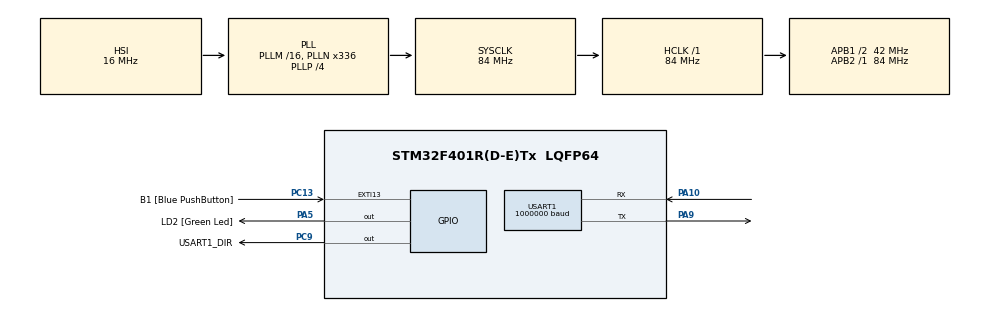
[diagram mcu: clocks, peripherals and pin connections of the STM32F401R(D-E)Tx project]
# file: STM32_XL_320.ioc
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Mcu.Family=STM32F4
Mcu.Name=STM32F401R(D-E)Tx
Mcu.Package=LQFP64
NVIC.PriorityGroup=NVIC_PRIORITYGROUP_0
NVIC.USART1_IRQn=true\:0\:0\:false\:false\:true\:true
PA10.Mode=Asynchronous
PA10.Signal=USART1_RX
PA13.GPIO_Label=TMS
PA13.Signal=SYS_JTMS-SWDIO
PA14.GPIO_Label=TCK
PA14.Signal=SYS_JTCK-SWCLK
PA2.GPIO_Label=USART_TX
PA2.GPIO_Mode=GPIO_MODE_AF_PP
PA2.GPIO_PuPd=GPIO_NOPULL
PA2.GPIO_Speed=GPIO_SPEED_FREQ_LOW
PA2.Signal=USART2_TX
PA3.GPIO_Label=USART_RX
PA3.GPIO_Mode=GPIO_MODE_AF_PP
PA3.GPIO_PuPd=GPIO_NOPULL
PA3.GPIO_Speed=GPIO_SPEED_FREQ_LOW
PA3.Signal=USART2_RX
PA5.GPIO_Label=LD2 [Green Led]
PA5.GPIO_Mode=GPIO_MODE_OUTPUT_PP
PA5.GPIO_PuPd=GPIO_NOPULL
PA5.GPIO_Speed=GPIO_SPEED_FREQ_LOW
PA5.Signal=GPIO_Output
PA9.Mode=Asynchronous
PA9.Signal=USART1_TX
PB3.GPIO_Label=SWO
PB3.Signal=SYS_JTDO-SWO
PC13-ANTI_TAMP.GPIO_Label=B1 [Blue PushButton]
PC13-ANTI_TAMP.GPIO_ModeDefaultEXTI=GPIO_MODE_IT_FALLING
PC13-ANTI_TAMP.GPIO_PuPd=GPIO_NOPULL
PC13-ANTI_TAMP.Signal=GPXTI13
PC14-OSC32_IN.Signal=RCC_OSC32_IN
PC15-OSC32_OUT.Signal=RCC_OSC32_OUT
PC9.GPIO_Label=USART1_DIR
PC9.PinState=GPIO_PIN_RESET
PC9.Signal=GPIO_Output
PH0\ -\ OSC_IN.Signal=RCC_OSC_IN
PH1\ -\ OSC_OUT.Signal=RCC_OSC_OUT
ProjectManager.HeapSize=0x200
ProjectManager.StackSize=0x400
ProjectManager.TargetToolchain=Makefile
RCC.AHBFreq_Value=84000000
RCC.APB1CLKDivider=RCC_HCLK_DIV2
RCC.APB1Freq_Value=42000000
RCC.APB1TimFreq_Value=84000000
RCC.APB2Freq_Value=84000000
RCC.APB2TimFreq_Value=84000000
RCC.CortexFreq_Value=84000000
RCC.HCLKFreq_Value=84000000
RCC.HSE_VALUE=8000000
RCC.HSI_VALUE=16000000
RCC.LSE_VALUE=32768
RCC.PLLN=336
RCC.PLLP=RCC_PLLP_DIV4
RCC.PLLQ=7
RCC.SYSCLKFreq_VALUE=84000000
RCC.SYSCLKSource=RCC_SYSCLKSOURCE_PLLCLK
RCC.VCOOutputFreq_Value=336000000
USART1.BaudRate=1000000
USART1.VirtualMode=VM_ASYNC
board=NUCLEO-F401RE

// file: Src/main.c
/**
  ******************************************************************************
  * File Name          : main.c
  * Description        : Main program body
  ******************************************************************************
  ** This notice applies to any and all portions of this file
  * that are not between comment pairs USER CODE BEGIN and
  * USER CODE END. Other portions of this file, whether
  * inserted by the user or by software development tools
  * are owned by their respective copyright owners.
  *
  * COPYRIGHT(c) 2017 STMicroelectronics
  *
  * Redistribution and use in source and binary forms, with or without modification,
  * are permitted provided that the following conditions are met:
  *   1. Redistributions of source code must retain the above copyright notice,
  *      this list of conditions and the following disclaimer.
  *   2. Redistributions in binary form must reproduce the above copyright notice,
  *      this list of conditions and the following disclaimer in the documentation
  *      and/or other materials provided with the distribution.
  *   3. Neither the name of STMicroelectronics nor the names of its contributors
  *      may be used to endorse or promote products derived from this software
  *      without specific prior written permission.
  *
  * THIS SOFTWARE IS PROVIDED BY THE COPYRIGHT HOLDERS AND CONTRIBUTORS "AS IS"
  * AND ANY EXPRESS OR IMPLIED WARRANTIES, INCLUDING, BUT NOT LIMITED TO, THE
  * IMPLIED WARRANTIES OF MERCHANTABILITY AND FITNESS FOR A PARTICULAR PURPOSE ARE
  * DISCLAIMED. IN NO EVENT SHALL THE COPYRIGHT HOLDER OR CONTRIBUTORS BE LIABLE
  * FOR ANY DIRECT, INDIRECT, INCIDENTAL, SPECIAL, EXEMPLARY, OR CONSEQUENTIAL
  * DAMAGES (INCLUDING, BUT NOT LIMITED TO, PROCUREMENT OF SUBSTITUTE GOODS OR
  * SERVICES; LOSS OF USE, DATA, OR PROFITS; OR BUSINESS INTERRUPTION) HOWEVER
  * CAUSED AND ON ANY THEORY OF LIABILITY, WHETHER IN CONTRACT, STRICT LIABILITY,
  * OR TORT (INCLUDING NEGLIGENCE OR OTHERWISE) ARISING IN ANY WAY OUT OF THE USE
  * OF THIS SOFTWARE, EVEN IF ADVISED OF THE POSSIBILITY OF SUCH DAMAGE.
  *
  ******************************************************************************
  */

#include "main.h"
#include "stm32f4xx_hal.h"

/* USER CODE BEGIN Includes */
#include "xl_320.h"
/* USER CODE END Includes */

UART_HandleTypeDef huart1;

/* USER CODE BEGIN PV */
/* Private variables ---------------------------------------------------------*/

/* USER CODE END PV */

void SystemClock_Config(void);
static void MX_GPIO_Init(void);
static void MX_USART1_UART_Init(void);

/* USER CODE BEGIN PFP */
/* Private function prototypes -----------------------------------------------*/

/* USER CODE END PFP */

/* USER CODE BEGIN 0 */
XL_Interface interface;

uint8_t XL_320_Send_HAL(uint8_t *data, uint16_t size, uint32_t timeout){
  HAL_StatusTypeDef status = HAL_UART_Transmit(&huart1, data, size, timeout);
  return (status==HAL_OK)?0:1;return 0;//Temporaire
}

void XL_320_Set_Direction_HAL(XL_Direction dir){
  HAL_GPIO_WritePin(USART1_DIR_GPIO_Port, USART1_DIR_Pin, (dir==XL_SEND)?GPIO_PIN_SET:GPIO_PIN_RESET);
}

uint8_t XL_320_Receive_HAL(uint8_t *buffer, uint16_t size, uint32_t timeout){
  HAL_StatusTypeDef status = HAL_UART_Receive(&huart1, buffer, size, timeout);
  return (status==HAL_OK)?0:1;
}

void XL_320_Delay_HAL(uint32_t t){
  HAL_Delay(t);
}

/* USER CODE END 0 */

int main(void)
{

  /* MCU Configuration----------------------------------------------------------*/

  /* Reset of all peripherals, Initializes the Flash interface and the Systick. */
  HAL_Init();

  /* Configure the system clock */
  SystemClock_Config();

  /* Initialize all configured peripherals */
  MX_GPIO_Init();
  MX_USART1_UART_Init();

  /* USER CODE BEGIN 2 */
  //Initialisation interface
  interface.send = XL_320_Send_HAL;
  interface.set_direction = XL_320_Set_Direction_HAL;
  interface.receive = XL_320_Receive_HAL;
  interface.delay = XL_320_Delay_HAL;

  HAL_Delay(1000);

  XL broadcast = (XL) {.interface = &interface, .id = XL_BROADCAST};

  XL servo[2];
  uint16_t nb_servos = 0;

  XL_Discover(&interface, servo, 2, &nb_servos);
  XL_Say_Hello(&servo[0]);
  //XL_Say_Hello(&servo[1]);

  XL_Power_Off(&servo[0], XL_NOW);
  //XL_Power_On(&servo[1], XL_NOW);

  uint16_t working;
  if(XL_Is_Working(&servo[0], &working) == 0){
    if(working){
      XL_Set_LED(&servo[0], XL_GREEN, XL_NOW);
    }
    else{
      XL_Set_LED(&servo[0], XL_BLUE, XL_NOW);
    }
  }
  else{
    XL_Set_LED(&servo[0], XL_RED, XL_NOW);
  }

  /*
  XL_Configure_Control_Mode(&servo[1], XL_JOIN_MODE);
  XL_Configure_CW_Angle_Limit(&servo[1], 0);
  XL_Configure_CCW_Angle_Limit(&servo[1],1023);
  */

  //while(1);

  /* USER CODE END 2 */

  /* Infinite loop */
  /* USER CODE BEGIN WHILE */
  while (1)
  {
    HAL_Delay(2000);
    XL_Set_Goal_Position(&servo[0], 400, XL_NOW);
//    HAL_Delay(2000);
//    XL_Set_Goal_Position(&servo[1], 600, XL_NOW);
    XL_Power_On(&servo[0], XL_NOW);
//    HAL_Delay(2000);
    XL_Set_Goal_Position(&servo[0], 600, XL_NOW);
    HAL_Delay(2000);
//    XL_Set_Goal_Position(&servo[1], 400, XL_NOW);
    XL_Power_On(&servo[0], XL_NOW);
  /* USER CODE END WHILE */

  }

}

/** System Clock Configuration
*/
void SystemClock_Config(void)
{

  RCC_OscInitTypeDef RCC_OscInitStruct;
  RCC_ClkInitTypeDef RCC_ClkInitStruct;

    /**Configure the main internal regulator output voltage
    */
  __HAL_RCC_PWR_CLK_ENABLE();

  __HAL_PWR_VOLTAGESCALING_CONFIG(PWR_REGULATOR_VOLTAGE_SCALE2);

    /**Initializes the CPU, AHB and APB busses clocks
    */
  RCC_OscInitStruct.OscillatorType = RCC_OSCILLATORTYPE_HSI;
  RCC_OscInitStruct.HSIState = RCC_HSI_ON;
  RCC_OscInitStruct.HSICalibrationValue = 16;
  RCC_OscInitStruct.PLL.PLLState = RCC_PLL_ON;
  RCC_OscInitStruct.PLL.PLLSource = RCC_PLLSOURCE_HSI;
  RCC_OscInitStruct.PLL.PLLM = 16;
  RCC_OscInitStruct.PLL.PLLN = 336;
  RCC_OscInitStruct.PLL.PLLP = RCC_PLLP_DIV4;
  RCC_OscInitStruct.PLL.PLLQ = 7;
  if (HAL_RCC_OscConfig(&RCC_OscInitStruct) != HAL_OK)
  {
    _Error_Handler(__FILE__, __LINE__);
  }

    /**Initializes the CPU, AHB and APB busses clocks
    */
  RCC_ClkInitStruct.ClockType = RCC_CLOCKTYPE_HCLK|RCC_CLOCKTYPE_SYSCLK
                              |RCC_CLOCKTYPE_PCLK1|RCC_CLOCKTYPE_PCLK2;
  RCC_ClkInitStruct.SYSCLKSource = RCC_SYSCLKSOURCE_PLLCLK;
  RCC_ClkInitStruct.AHBCLKDivider = RCC_SYSCLK_DIV1;
  RCC_ClkInitStruct.APB1CLKDivider = RCC_HCLK_DIV2;
  RCC_ClkInitStruct.APB2CLKDivider = RCC_HCLK_DIV1;

  if (HAL_RCC_ClockConfig(&RCC_ClkInitStruct, FLASH_LATENCY_2) != HAL_OK)
  {
    _Error_Handler(__FILE__, __LINE__);
  }

    /**Configure the Systick interrupt time
    */
  HAL_SYSTICK_Config(HAL_RCC_GetHCLKFreq()/1000);

    /**Configure the Systick
    */
  HAL_SYSTICK_CLKSourceConfig(SYSTICK_CLKSOURCE_HCLK);

  /* SysTick_IRQn interrupt configuration */
  HAL_NVIC_SetPriority(SysTick_IRQn, 0, 0);
}

/* USART1 init function */
static void MX_USART1_UART_Init(void)
{

  huart1.Instance = USART1;
  huart1.Init.BaudRate = 1000000;
  huart1.Init.WordLength = UART_WORDLENGTH_8B;
  huart1.Init.StopBits = UART_STOPBITS_1;
  huart1.Init.Parity = UART_PARITY_NONE;
  huart1.Init.Mode = UART_MODE_TX_RX;
  huart1.Init.HwFlowCtl = UART_HWCONTROL_NONE;
  huart1.Init.OverSampling = UART_OVERSAMPLING_16;
  if (HAL_UART_Init(&huart1) != HAL_OK)
  {
    _Error_Handler(__FILE__, __LINE__);
  }

}

/** Configure pins as
        * Analog
        * Input
        * Output
        * EVENT_OUT
        * EXTI
        * Free pins are configured automatically as Analog (this feature is enabled through
        * the Code Generation settings)
     PA2   ------> USART2_TX
     PA3   ------> USART2_RX
*/
static void MX_GPIO_Init(void)
{

  GPIO_InitTypeDef GPIO_InitStruct;

  /* GPIO Ports Clock Enable */
  __HAL_RCC_GPIOC_CLK_ENABLE();
  __HAL_RCC_GPIOH_CLK_ENABLE();
  __HAL_RCC_GPIOA_CLK_ENABLE();
  __HAL_RCC_GPIOB_CLK_ENABLE();
  __HAL_RCC_GPIOD_CLK_ENABLE();

  /*Configure GPIO pin Output Level */
  HAL_GPIO_WritePin(LD2_GPIO_Port, LD2_Pin, GPIO_PIN_RESET);

  /*Configure GPIO pin Output Level */
  HAL_GPIO_WritePin(USART1_DIR_GPIO_Port, USART1_DIR_Pin, GPIO_PIN_RESET);

  /*Configure GPIO pin : B1_Pin */
  GPIO_InitStruct.Pin = B1_Pin;
  GPIO_InitStruct.Mode = GPIO_MODE_IT_FALLING;
  GPIO_InitStruct.Pull = GPIO_NOPULL;
  HAL_GPIO_Init(B1_GPIO_Port, &GPIO_InitStruct);

  /*Configure GPIO pins : PC0 PC1 PC2 PC3
                           PC4 PC5 PC6 PC7
                           PC8 PC10 PC11 PC12 */
  GPIO_InitStruct.Pin = GPIO_PIN_0|GPIO_PIN_1|GPIO_PIN_2|GPIO_PIN_3
                          |GPIO_PIN_4|GPIO_PIN_5|GPIO_PIN_6|GPIO_PIN_7
                          |GPIO_PIN_8|GPIO_PIN_10|GPIO_PIN_11|GPIO_PIN_12;
  GPIO_InitStruct.Mode = GPIO_MODE_ANALOG;
  GPIO_InitStruct.Pull = GPIO_NOPULL;
  HAL_GPIO_Init(GPIOC, &GPIO_InitStruct);

  /*Configure GPIO pins : PA0 PA1 PA4 PA6
                           PA7 PA8 PA11 PA12
                           PA15 */
  GPIO_InitStruct.Pin = GPIO_PIN_0|GPIO_PIN_1|GPIO_PIN_4|GPIO_PIN_6
                          |GPIO_PIN_7|GPIO_PIN_8|GPIO_PIN_11|GPIO_PIN_12
                          |GPIO_PIN_15;
  GPIO_InitStruct.Mode = GPIO_MODE_ANALOG;
  GPIO_InitStruct.Pull = GPIO_NOPULL;
  HAL_GPIO_Init(GPIOA, &GPIO_InitStruct);

  /*Configure GPIO pins : USART_TX_Pin USART_RX_Pin */
  GPIO_InitStruct.Pin = USART_TX_Pin|USART_RX_Pin;
  GPIO_InitStruct.Mode = GPIO_MODE_AF_PP;
  GPIO_InitStruct.Pull = GPIO_NOPULL;
  GPIO_InitStruct.Speed = GPIO_SPEED_FREQ_LOW;
  GPIO_InitStruct.Alternate = GPIO_AF7_USART2;
  HAL_GPIO_Init(GPIOA, &GPIO_InitStruct);

  /*Configure GPIO pin : LD2_Pin */
  GPIO_InitStruct.Pin = LD2_Pin;
  GPIO_InitStruct.Mode = GPIO_MODE_OUTPUT_PP;
  GPIO_InitStruct.Pull = GPIO_NOPULL;
  GPIO_InitStruct.Speed = GPIO_SPEED_FREQ_LOW;
  HAL_GPIO_Init(LD2_GPIO_Port, &GPIO_InitStruct);

  /*Configure GPIO pins : PB0 PB1 PB2 PB10
                           PB12 PB13 PB14 PB15
                           PB4 PB5 PB6 PB7
                           PB8 PB9 */
  GPIO_InitStruct.Pin = GPIO_PIN_0|GPIO_PIN_1|GPIO_PIN_2|GPIO_PIN_10
                          |GPIO_PIN_12|GPIO_PIN_13|GPIO_PIN_14|GPIO_PIN_15
                          |GPIO_PIN_4|GPIO_PIN_5|GPIO_PIN_6|GPIO_PIN_7
                          |GPIO_PIN_8|GPIO_PIN_9;
  GPIO_InitStruct.Mode = GPIO_MODE_ANALOG;
  GPIO_InitStruct.Pull = GPIO_NOPULL;
  HAL_GPIO_Init(GPIOB, &GPIO_InitStruct);

  /*Configure GPIO pin : USART1_DIR_Pin */
  GPIO_InitStruct.Pin = USART1_DIR_Pin;
  GPIO_InitStruct.Mode = GPIO_MODE_OUTPUT_PP;
  GPIO_InitStruct.Pull = GPIO_NOPULL;
  GPIO_InitStruct.Speed = GPIO_SPEED_FREQ_LOW;
  HAL_GPIO_Init(USART1_DIR_GPIO_Port, &GPIO_InitStruct);

  /*Configure GPIO pin : PD2 */
  GPIO_InitStruct.Pin = GPIO_PIN_2;
  GPIO_InitStruct.Mode = GPIO_MODE_ANALOG;
  GPIO_InitStruct.Pull = GPIO_NOPULL;
  HAL_GPIO_Init(GPIOD, &GPIO_InitStruct);

}

void _Error_Handler(char * file, int line)
{
  while(1)
  {
  }
}

/************************ (C) COPYRIGHT STMicroelectronics *****END OF FILE****/
